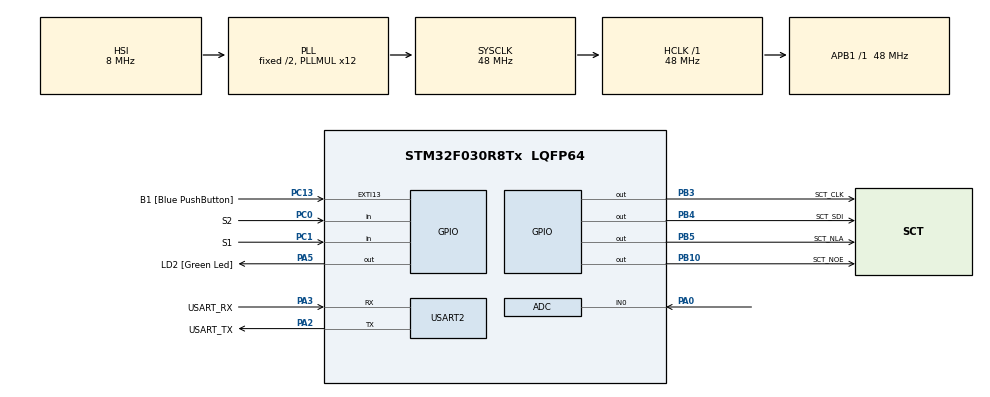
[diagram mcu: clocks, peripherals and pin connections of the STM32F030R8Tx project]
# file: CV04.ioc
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ADC.ContinuousConvMode=ENABLE
ADC.Overrun=ADC_OVR_DATA_OVERWRITTEN
ADC.SamplingTime=ADC_SAMPLETIME_239CYCLES_5
Mcu.Family=STM32F0
Mcu.Name=STM32F030R8Tx
Mcu.Package=LQFP64
NVIC.ADC1_IRQn=true\:0\:0\:false\:false\:true\:true\:true
PA0.Mode=IN0
PA0.Signal=ADC_IN0
PA13.GPIO_Label=TMS
PA13.Mode=Serial_Wire
PA13.Signal=SYS_SWDIO
PA14.GPIO_Label=TCK
PA14.Mode=Serial_Wire
PA14.Signal=SYS_SWCLK
PA2.GPIO_Label=USART_TX
PA2.GPIO_Mode=GPIO_MODE_AF_PP
PA2.GPIO_PuPd=GPIO_NOPULL
PA2.GPIO_Speed=GPIO_SPEED_FREQ_LOW
PA2.Mode=Asynchronous
PA2.Signal=USART2_TX
PA3.GPIO_Label=USART_RX
PA3.GPIO_Mode=GPIO_MODE_AF_PP
PA3.GPIO_PuPd=GPIO_NOPULL
PA3.GPIO_Speed=GPIO_SPEED_FREQ_LOW
PA3.Mode=Asynchronous
PA3.Signal=USART2_RX
PA5.GPIO_Label=LD2 [Green Led]
PA5.GPIO_Mode=GPIO_MODE_OUTPUT_PP
PA5.GPIO_PuPd=GPIO_NOPULL
PA5.GPIO_Speed=GPIO_SPEED_FREQ_LOW
PA5.Signal=GPIO_Output
PB10.GPIO_Label=SCT_NOE
PB10.Signal=GPIO_Output
PB3.GPIO_Label=SCT_CLK
PB3.Signal=GPIO_Output
PB4.GPIO_Label=SCT_SDI
PB4.Signal=GPIO_Output
PB5.GPIO_Label=SCT_NLA
PB5.Signal=GPIO_Output
PC0.GPIO_Label=S2
PC0.GPIO_PuPd=GPIO_PULLUP
PC0.Signal=GPIO_Input
PC1.GPIO_Label=S1
PC1.GPIO_PuPd=GPIO_PULLUP
PC1.Signal=GPIO_Input
PC13.GPIO_Label=B1 [Blue PushButton]
PC13.GPIO_ModeDefaultEXTI=GPIO_MODE_IT_FALLING
PC13.Signal=GPXTI13
PC14-OSC32_IN.Mode=LSE-External-Oscillator
PC14-OSC32_IN.Signal=RCC_OSC32_IN
PC15-OSC32_OUT.Mode=LSE-External-Oscillator
PC15-OSC32_OUT.Signal=RCC_OSC32_OUT
PF0-OSC_IN.Mode=HSE-External-Clock-Source
PF0-OSC_IN.Signal=RCC_OSC_IN
PF1-OSC_OUT.Signal=RCC_OSC_OUT
ProjectManager.HeapSize=0x200
ProjectManager.StackSize=0x400
ProjectManager.TargetToolchain=STM32CubeIDE
RCC.AHBFreq_Value=48000000
RCC.APB1Freq_Value=48000000
RCC.APB1TimFreq_Value=48000000
RCC.HCLKFreq_Value=48000000
RCC.PLLMUL=RCC_PLL_MUL12
RCC.SYSCLKFreq_VALUE=48000000
RCC.SYSCLKSource=RCC_SYSCLKSOURCE_PLLCLK
USART2.VirtualMode-Asynchronous=VM_ASYNC
VP_ADC_TempSens_Input.Mode=IN-TempSens
VP_ADC_Vref_Input.Mode=IN-Vrefint
board=NUCLEO-F030R8

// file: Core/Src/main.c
/* USER CODE BEGIN Header */
/**
  ******************************************************************************
  * @file           : main.c
  * @brief          : Main program body
  ******************************************************************************
  * @attention
  *
  * <h2><center>&copy; Copyright (c) 2020 STMicroelectronics.
  * All rights reserved.</center></h2>
  *
  * This software component is licensed by ST under BSD 3-Clause license,
  * the "License"; You may not use this file except in compliance with the
  * License. You may obtain a copy of the License at:
  *                        opensource.org/licenses/BSD-3-Clause
  *
  ******************************************************************************
  */
/* USER CODE END Header */
#include "main.h"

/* USER CODE BEGIN PD */

#define ADC_Q 12

/* Temperature sensor calibration value address */
#define TEMP110_CAL_ADDR ((uint16_t*) ((uint32_t) 0x1FFFF7C2))
#define TEMP30_CAL_ADDR ((uint16_t*) ((uint32_t) 0x1FFFF7B8))

/* Internal voltage reference calibration value address */
#define VREFINT_CAL_ADDR ((uint16_t*) ((uint32_t) 0x1FFFF7BA))

/* USER CODE END PD */

ADC_HandleTypeDef hadc;

UART_HandleTypeDef huart2;

/* USER CODE BEGIN PV */

static volatile uint32_t raw_pot;
static volatile uint32_t raw_temp;
static volatile uint32_t raw_voltage;

/* USER CODE END PV */

void SystemClock_Config(void);
static void MX_GPIO_Init(void);
static void MX_USART2_UART_Init(void);
static void MX_ADC_Init(void);

/* USER CODE BEGIN 0 */

	void HAL_ADC_ConvCpltCallback(ADC_HandleTypeDef* hadc)    //volany po dobehnuti prevodu
	{
		static uint8_t channel = 0;

		if(channel == 0)
			{
				static uint32_t avg_pot;

				raw_pot = avg_pot >> ADC_Q; 		//hodnota posunuta o ADC bitu
				avg_pot -= raw_pot;
				avg_pot += HAL_ADC_GetValue(hadc);
			}
		else if (channel == 1)
			{
				raw_temp = HAL_ADC_GetValue(hadc);
			}
		else if (channel == 2)
			{
				raw_voltage = HAL_ADC_GetValue(hadc);
			}

		if (__HAL_ADC_GET_FLAG(hadc, ADC_FLAG_EOS)) channel = 0;
		else channel++;
	}

/* USER CODE END 0 */

int main(void)
{

  /* MCU Configuration--------------------------------------------------------*/

  /* Reset of all peripherals, Initializes the Flash interface and the Systick. */
  HAL_Init();

  /* Configure the system clock */
  SystemClock_Config();

  /* Initialize all configured peripherals */
  MX_GPIO_Init();
  MX_USART2_UART_Init();
  MX_ADC_Init();
  /* USER CODE BEGIN 2 */

  sct_init();
  HAL_ADCEx_Calibration_Start(&hadc);  	 //kalibrace po inicializaci a jeste pred spustenim prevodniku
  HAL_ADC_Start_IT(&hadc);   			//po skonceni kazdeho prevodu je volano preruseni

  /* USER CODE END 2 */

  /* Infinite loop */
  while (1)
  {

    /* USER CODE BEGIN 3 */

	  static enum { SHOW_POT, SHOW_VOLT, SHOW_TEMP } state = SHOW_POT;
	  static uint32_t delay;

	  if(state== SHOW_POT)
	  {
	  sct_value(raw_pot * 500/4096,raw_pot * 9/4096);
	  }

	  else if (state == SHOW_TEMP)
	  {
		 int32_t temperature = (raw_temp - (int32_t)(*TEMP30_CAL_ADDR));

		 temperature = temperature * (int32_t)(110 - 30);
		 temperature = temperature / (int32_t)(*TEMP110_CAL_ADDR - *TEMP30_CAL_ADDR);
		 temperature = temperature + 30;

		  sct_value(temperature, raw_pot * 9/4096);
	  }

	  else if (state==SHOW_VOLT)
	  {
		  uint32_t voltage = 330 * (*VREFINT_CAL_ADDR) / raw_voltage;

		  sct_value(voltage, raw_pot * 9/4096);
	  }

	  if(HAL_GPIO_ReadPin(GPIOC, GPIO_PIN_0)==0) 		//prirazeni tlacitka S2 k teplote
	  {
		  state = SHOW_TEMP;
		  delay = HAL_GetTick();

	  }

	  if(HAL_GPIO_ReadPin(GPIOC, GPIO_PIN_1)==0) 		//prirazeni tlacitka S1 k napeti
	  {
		  state = SHOW_VOLT;
		  delay = HAL_GetTick();
	  }

	  if (HAL_GetTick() > delay + 1000) state = SHOW_POT;

  }
  /* USER CODE END 3 */
}

void SystemClock_Config(void)
{
  RCC_OscInitTypeDef RCC_OscInitStruct = {0};
  RCC_ClkInitTypeDef RCC_ClkInitStruct = {0};

  /** Initializes the RCC Oscillators according to the specified parameters
  * in the RCC_OscInitTypeDef structure.
  */
  RCC_OscInitStruct.OscillatorType = RCC_OSCILLATORTYPE_HSI|RCC_OSCILLATORTYPE_HSI14;
  RCC_OscInitStruct.HSIState = RCC_HSI_ON;
  RCC_OscInitStruct.HSI14State = RCC_HSI14_ON;
  RCC_OscInitStruct.HSICalibrationValue = RCC_HSICALIBRATION_DEFAULT;
  RCC_OscInitStruct.HSI14CalibrationValue = 16;
  RCC_OscInitStruct.PLL.PLLState = RCC_PLL_ON;
  RCC_OscInitStruct.PLL.PLLSource = RCC_PLLSOURCE_HSI;
  RCC_OscInitStruct.PLL.PLLMUL = RCC_PLL_MUL12;
  RCC_OscInitStruct.PLL.PREDIV = RCC_PREDIV_DIV1;
  if (HAL_RCC_OscConfig(&RCC_OscInitStruct) != HAL_OK)
  {
    Error_Handler();
  }
  /** Initializes the CPU, AHB and APB buses clocks
  */
  RCC_ClkInitStruct.ClockType = RCC_CLOCKTYPE_HCLK|RCC_CLOCKTYPE_SYSCLK
                              |RCC_CLOCKTYPE_PCLK1;
  RCC_ClkInitStruct.SYSCLKSource = RCC_SYSCLKSOURCE_PLLCLK;
  RCC_ClkInitStruct.AHBCLKDivider = RCC_SYSCLK_DIV1;
  RCC_ClkInitStruct.APB1CLKDivider = RCC_HCLK_DIV1;

  if (HAL_RCC_ClockConfig(&RCC_ClkInitStruct, FLASH_LATENCY_1) != HAL_OK)
  {
    Error_Handler();
  }
}

static void MX_ADC_Init(void)
{

  ADC_ChannelConfTypeDef sConfig = {0};

  /** Configure the global features of the ADC (Clock, Resolution, Data Alignment and number of conversion)
  */
  hadc.Instance = ADC1;
  hadc.Init.ClockPrescaler = ADC_CLOCK_ASYNC_DIV1;
  hadc.Init.Resolution = ADC_RESOLUTION_12B;
  hadc.Init.DataAlign = ADC_DATAALIGN_RIGHT;
  hadc.Init.ScanConvMode = ADC_SCAN_DIRECTION_FORWARD;
  hadc.Init.EOCSelection = ADC_EOC_SINGLE_CONV;
  hadc.Init.LowPowerAutoWait = DISABLE;
  hadc.Init.LowPowerAutoPowerOff = DISABLE;
  hadc.Init.ContinuousConvMode = ENABLE;
  hadc.Init.DiscontinuousConvMode = DISABLE;
  hadc.Init.ExternalTrigConv = ADC_SOFTWARE_START;
  hadc.Init.ExternalTrigConvEdge = ADC_EXTERNALTRIGCONVEDGE_NONE;
  hadc.Init.DMAContinuousRequests = DISABLE;
  hadc.Init.Overrun = ADC_OVR_DATA_OVERWRITTEN;
  if (HAL_ADC_Init(&hadc) != HAL_OK)
  {
    Error_Handler();
  }
  /** Configure for the selected ADC regular channel to be converted.
  */
  sConfig.Channel = ADC_CHANNEL_0;
  sConfig.Rank = ADC_RANK_CHANNEL_NUMBER;
  sConfig.SamplingTime = ADC_SAMPLETIME_239CYCLES_5;
  if (HAL_ADC_ConfigChannel(&hadc, &sConfig) != HAL_OK)
  {
    Error_Handler();
  }
  /** Configure for the selected ADC regular channel to be converted.
  */
  sConfig.Channel = ADC_CHANNEL_TEMPSENSOR;
  if (HAL_ADC_ConfigChannel(&hadc, &sConfig) != HAL_OK)
  {
    Error_Handler();
  }
  /** Configure for the selected ADC regular channel to be converted.
  */
  sConfig.Channel = ADC_CHANNEL_VREFINT;
  if (HAL_ADC_ConfigChannel(&hadc, &sConfig) != HAL_OK)
  {
    Error_Handler();
  }

}

static void MX_USART2_UART_Init(void)
{

  huart2.Instance = USART2;
  huart2.Init.BaudRate = 38400;
  huart2.Init.WordLength = UART_WORDLENGTH_8B;
  huart2.Init.StopBits = UART_STOPBITS_1;
  huart2.Init.Parity = UART_PARITY_NONE;
  huart2.Init.Mode = UART_MODE_TX_RX;
  huart2.Init.HwFlowCtl = UART_HWCONTROL_NONE;
  huart2.Init.OverSampling = UART_OVERSAMPLING_16;
  huart2.Init.OneBitSampling = UART_ONE_BIT_SAMPLE_DISABLE;
  huart2.AdvancedInit.AdvFeatureInit = UART_ADVFEATURE_NO_INIT;
  if (HAL_UART_Init(&huart2) != HAL_OK)
  {
    Error_Handler();
  }

}

static void MX_GPIO_Init(void)
{
  GPIO_InitTypeDef GPIO_InitStruct = {0};

  /* GPIO Ports Clock Enable */
  __HAL_RCC_GPIOC_CLK_ENABLE();
  __HAL_RCC_GPIOF_CLK_ENABLE();
  __HAL_RCC_GPIOA_CLK_ENABLE();
  __HAL_RCC_GPIOB_CLK_ENABLE();

  /*Configure GPIO pin Output Level */
  HAL_GPIO_WritePin(LD2_GPIO_Port, LD2_Pin, GPIO_PIN_RESET);

  /*Configure GPIO pin Output Level */
  HAL_GPIO_WritePin(GPIOB, SCT_NOE_Pin|SCT_CLK_Pin|SCT_SDI_Pin|SCT_NLA_Pin, GPIO_PIN_RESET);

  /*Configure GPIO pin : B1_Pin */
  GPIO_InitStruct.Pin = B1_Pin;
  GPIO_InitStruct.Mode = GPIO_MODE_IT_FALLING;
  GPIO_InitStruct.Pull = GPIO_NOPULL;
  HAL_GPIO_Init(B1_GPIO_Port, &GPIO_InitStruct);

  /*Configure GPIO pins : S2_Pin S1_Pin */
  GPIO_InitStruct.Pin = S2_Pin|S1_Pin;
  GPIO_InitStruct.Mode = GPIO_MODE_INPUT;
  GPIO_InitStruct.Pull = GPIO_PULLUP;
  HAL_GPIO_Init(GPIOC, &GPIO_InitStruct);

  /*Configure GPIO pin : LD2_Pin */
  GPIO_InitStruct.Pin = LD2_Pin;
  GPIO_InitStruct.Mode = GPIO_MODE_OUTPUT_PP;
  GPIO_InitStruct.Pull = GPIO_NOPULL;
  GPIO_InitStruct.Speed = GPIO_SPEED_FREQ_LOW;
  HAL_GPIO_Init(LD2_GPIO_Port, &GPIO_InitStruct);

  /*Configure GPIO pins : SCT_NOE_Pin SCT_CLK_Pin SCT_SDI_Pin SCT_NLA_Pin */
  GPIO_InitStruct.Pin = SCT_NOE_Pin|SCT_CLK_Pin|SCT_SDI_Pin|SCT_NLA_Pin;
  GPIO_InitStruct.Mode = GPIO_MODE_OUTPUT_PP;
  GPIO_InitStruct.Pull = GPIO_NOPULL;
  GPIO_InitStruct.Speed = GPIO_SPEED_FREQ_LOW;
  HAL_GPIO_Init(GPIOB, &GPIO_InitStruct);

}

void Error_Handler(void)
{
}

/************************ (C) COPYRIGHT STMicroelectronics *****END OF FILE****/
